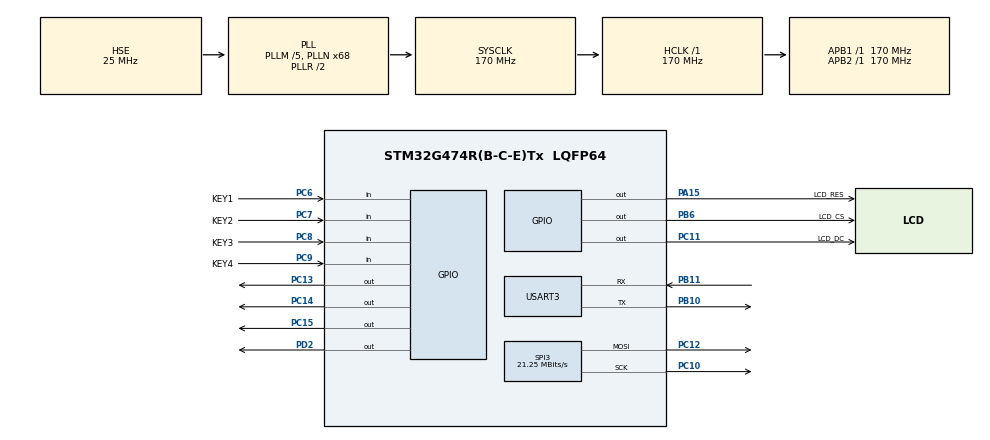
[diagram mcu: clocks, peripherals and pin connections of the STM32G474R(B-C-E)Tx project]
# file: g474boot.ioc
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Dma.Request0=SPI3_TX
Dma.SPI3_TX.0.Direction=DMA_MEMORY_TO_PERIPH
Dma.SPI3_TX.0.EventEnable=DISABLE
Dma.SPI3_TX.0.Instance=DMA1_Channel1
Dma.SPI3_TX.0.MemDataAlignment=DMA_MDATAALIGN_BYTE
Dma.SPI3_TX.0.MemInc=DMA_MINC_ENABLE
Dma.SPI3_TX.0.Mode=DMA_NORMAL
Dma.SPI3_TX.0.PeriphDataAlignment=DMA_PDATAALIGN_BYTE
Dma.SPI3_TX.0.PeriphInc=DMA_PINC_DISABLE
Dma.SPI3_TX.0.Polarity=HAL_DMAMUX_REQ_GEN_RISING
Dma.SPI3_TX.0.Priority=DMA_PRIORITY_MEDIUM
Dma.SPI3_TX.0.RequestNumber=1
Dma.SPI3_TX.0.SignalID=NONE
Dma.SPI3_TX.0.SyncEnable=DISABLE
Dma.SPI3_TX.0.SyncPolarity=HAL_DMAMUX_SYNC_NO_EVENT
Dma.SPI3_TX.0.SyncRequestNumber=1
Dma.SPI3_TX.0.SyncSignalID=NONE
Mcu.Family=STM32G4
Mcu.Name=STM32G474R(B-C-E)Tx
Mcu.Package=LQFP64
NVIC.DMA1_Channel1_IRQn=true\:0\:0\:false\:false\:true\:false\:true\:true
NVIC.PriorityGroup=NVIC_PRIORITYGROUP_4
NVIC.USART3_IRQn=true\:0\:0\:false\:false\:true\:true\:true\:true
PA13.Mode=Serial_Wire
PA13.Signal=SYS_JTMS-SWDIO
PA14.Mode=Serial_Wire
PA14.Signal=SYS_JTCK-SWCLK
PA15.GPIO_Label=LCD_RES
PA15.Signal=GPIO_Output
PB10.Mode=Asynchronous
PB10.Signal=USART3_TX
PB11.Mode=Asynchronous
PB11.Signal=USART3_RX
PB6.GPIO_Label=LCD_CS
PB6.Signal=GPIO_Output
PC10.Mode=TX_Only_Simplex_Unidirect_Master
PC10.Signal=SPI3_SCK
PC11.GPIO_Label=LCD_DC
PC11.Signal=GPIO_Output
PC12.Mode=TX_Only_Simplex_Unidirect_Master
PC12.Signal=SPI3_MOSI
PC13.Signal=GPIO_Output
PC14-OSC32_IN.Signal=GPIO_Output
PC15-OSC32_OUT.Signal=GPIO_Output
PC6.GPIO_Label=KEY1
PC6.Signal=GPIO_Input
PC7.GPIO_Label=KEY2
PC7.Signal=GPIO_Input
PC8.GPIO_Label=KEY3
PC8.Signal=GPIO_Input
PC9.GPIO_Label=KEY4
PC9.Signal=GPIO_Input
PD2.Signal=GPIO_Output
PF0-OSC_IN.Mode=HSE-External-Oscillator
PF0-OSC_IN.Signal=RCC_OSC_IN
PF1-OSC_OUT.Mode=HSE-External-Oscillator
PF1-OSC_OUT.Signal=RCC_OSC_OUT
ProjectManager.HeapSize=0x200
ProjectManager.StackSize=0x400
ProjectManager.TargetToolchain=MDK-ARM V5.27
RCC.ADC12Freq_Value=170000000
RCC.ADC345Freq_Value=170000000
RCC.AHBFreq_Value=170000000
RCC.APB1Freq_Value=170000000
RCC.APB1TimFreq_Value=170000000
RCC.APB2Freq_Value=170000000
RCC.APB2TimFreq_Value=170000000
RCC.CortexFreq_Value=170000000
RCC.EXTERNAL_CLOCK_VALUE=12288000
RCC.HCLKFreq_Value=170000000
RCC.HSE_VALUE=25000000
RCC.HSI48_VALUE=48000000
RCC.HSI_VALUE=16000000
RCC.LSE_VALUE=32768
RCC.PLLM=RCC_PLLM_DIV5
RCC.PLLN=68
RCC.PLLSourceVirtual=RCC_PLLSOURCE_HSE
RCC.SYSCLKFreq_VALUE=170000000
RCC.SYSCLKSource=RCC_SYSCLKSOURCE_PLLCLK
RCC.USBFreq_Value=170000000
RCC.VCOOutputFreq_Value=340000000
SPI3.BaudRatePrescaler=SPI_BAUDRATEPRESCALER_8
SPI3.CLKPhase=SPI_PHASE_1EDGE
SPI3.CLKPolarity=SPI_POLARITY_HIGH
SPI3.CalculateBaudRate=21.25 MBits/s
SPI3.DataSize=SPI_DATASIZE_8BIT
SPI3.Direction=SPI_DIRECTION_2LINES
SPI3.Mode=SPI_MODE_MASTER
SPI3.VirtualType=VM_MASTER
USART3.VirtualMode-Asynchronous=VM_ASYNC
VP_SYS_VS_DBSignals.Mode=DisableDeadBatterySignals
board=custom

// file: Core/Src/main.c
/* USER CODE BEGIN Header */
/**
  ******************************************************************************
  * @file           : main.c
  * @brief          : Main program body
  ******************************************************************************
  * @attention
  *
  * Copyright (c) 2025 STMicroelectronics.
  * All rights reserved.
  *
  * This software is licensed under terms that can be found in the LICENSE file
  * in the root directory of this software component.
  * If no LICENSE file comes with this software, it is provided AS-IS.
  *
  ******************************************************************************
  */
/* USER CODE END Header */
#include "main.h"
#include "dma.h"
#include "spi.h"
#include "usart.h"
#include "gpio.h"

/* USER CODE BEGIN Includes */
#include "stdio.h"

/* USER CODE END Includes */

/* USER CODE BEGIN PTD */
int fputc(int ch, FILE *f)
{
  uint8_t temp[1] = {ch};
  HAL_UART_Transmit(&huart3, temp, 1, 0xffff);
  return ch;
}

int fgetc(FILE *f)
{
  uint8_t ch = 0;
  HAL_UART_Receive(&huart3, &ch, 1, 0xffff);
  return ch;
}

void JumpToApp(uint32_t app_address) {
    typedef void (*pFunction)(void);
    pFunction AppStart;

    // 1. 关闭全局中断
    __disable_irq();

    // 2. 复位外设（避免残留状态影响App）
    HAL_RCC_DeInit();            // 复位时钟配置
    SysTick->CTRL = 0;           // 禁用SysTick
    SysTick->LOAD = 0;
    SysTick->VAL = 0;

    // 2. 设置App的堆栈指针（从App起始地址读取）
    uint32_t *app_sp = (uint32_t*)app_address;
    __set_MSP(*app_sp);
    SCB->VTOR = app_address;     // 设置中断向量表地址（针对Cortex-M内核）
    // 3. 获取App的复位向量地址（App起始地址 + 4）
    uint32_t *app_reset = (uint32_t*)(app_address + 4);
    AppStart = (pFunction)*app_reset;

    // 4. 跳转到App
    AppStart();

    // 5. 跳转失败时死循环
    while(1);
}

/* USER CODE END PTD */

void SystemClock_Config(void);

int main(void)
{

  /* MCU Configuration--------------------------------------------------------*/

  /* Reset of all peripherals, Initializes the Flash interface and the Systick. */
  HAL_Init();

  /* USER CODE BEGIN Init */
  __enable_irq(); // Enable global interrupts
  /* USER CODE END Init */

  /* Configure the system clock */
  SystemClock_Config();

  /* Initialize all configured peripherals */
  MX_GPIO_Init();
  MX_DMA_Init();
  MX_SPI3_Init();
  MX_USART3_UART_Init();

  /* Infinite loop */
  /* USER CODE BEGIN WHILE */
	printf("In Boot !\n");
  // JumpToApp(0x08010000); // Jump to application at 0x08020000
  while (1)
  {
    printf("In Boot 11!\n");
    HAL_Delay(1000);
    JumpToApp(0x08010000);
    /* USER CODE END WHILE */

  }
}

void SystemClock_Config(void)
{
  RCC_OscInitTypeDef RCC_OscInitStruct = {0};
  RCC_ClkInitTypeDef RCC_ClkInitStruct = {0};

  /** Configure the main internal regulator output voltage
  */
  HAL_PWREx_ControlVoltageScaling(PWR_REGULATOR_VOLTAGE_SCALE1_BOOST);

  /** Initializes the RCC Oscillators according to the specified parameters
  * in the RCC_OscInitTypeDef structure.
  */
  RCC_OscInitStruct.OscillatorType = RCC_OSCILLATORTYPE_HSE;
  RCC_OscInitStruct.HSEState = RCC_HSE_ON;
  RCC_OscInitStruct.PLL.PLLState = RCC_PLL_ON;
  RCC_OscInitStruct.PLL.PLLSource = RCC_PLLSOURCE_HSE;
  RCC_OscInitStruct.PLL.PLLM = RCC_PLLM_DIV5;
  RCC_OscInitStruct.PLL.PLLN = 68;
  RCC_OscInitStruct.PLL.PLLP = RCC_PLLP_DIV2;
  RCC_OscInitStruct.PLL.PLLQ = RCC_PLLQ_DIV2;
  RCC_OscInitStruct.PLL.PLLR = RCC_PLLR_DIV2;
  if (HAL_RCC_OscConfig(&RCC_OscInitStruct) != HAL_OK)
  {
    Error_Handler();
  }

  /** Initializes the CPU, AHB and APB buses clocks
  */
  RCC_ClkInitStruct.ClockType = RCC_CLOCKTYPE_HCLK|RCC_CLOCKTYPE_SYSCLK
                              |RCC_CLOCKTYPE_PCLK1|RCC_CLOCKTYPE_PCLK2;
  RCC_ClkInitStruct.SYSCLKSource = RCC_SYSCLKSOURCE_PLLCLK;
  RCC_ClkInitStruct.AHBCLKDivider = RCC_SYSCLK_DIV1;
  RCC_ClkInitStruct.APB1CLKDivider = RCC_HCLK_DIV1;
  RCC_ClkInitStruct.APB2CLKDivider = RCC_HCLK_DIV1;

  if (HAL_RCC_ClockConfig(&RCC_ClkInitStruct, FLASH_LATENCY_4) != HAL_OK)
  {
    Error_Handler();
  }
}

void Error_Handler(void)
{
  __disable_irq();
  while (1)
  {
  }
}
